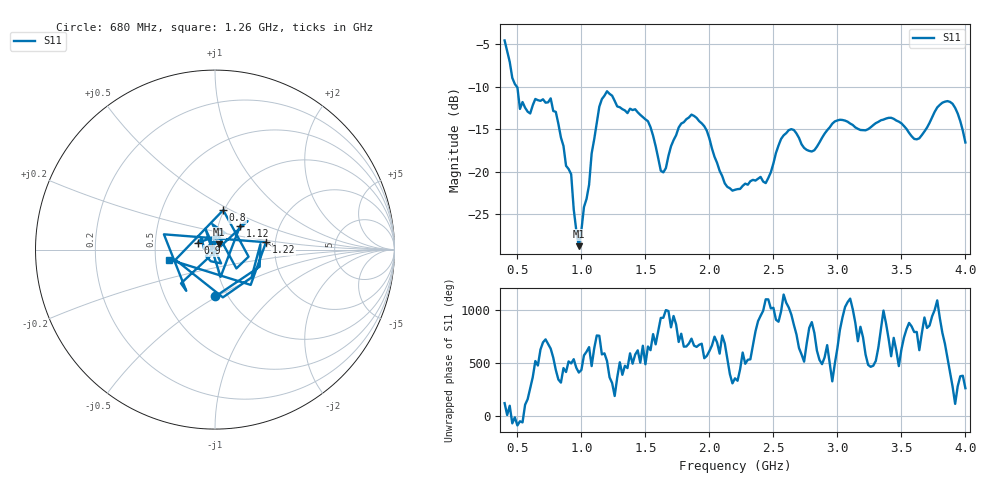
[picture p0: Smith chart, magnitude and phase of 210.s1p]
!Created with skrf (http://scikit-rf.org).
# Hz S RI R 50.0
!freq ReS11 ImS11
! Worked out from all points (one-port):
!   181 points, 400 MHz to 4 GHz, reference 50 ohm
!   lowest |S11| = -28.8 dB at 980 MHz (marker M1), VSWR 1.08, Z = 52.1 + j3.08 ohm
!   |S11| at or under -10 dB: 495.4 MHz to end of sweep
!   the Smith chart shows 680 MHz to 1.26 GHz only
!   S11 on the Smith chart (normalised r, x): 680 MHz: 0.88, -0.49; 800 MHz: 0.99, +0.46; 900 MHz: 0.82, +0.06; 1.12 GHz: 1.27, +0.35; 1.22 GHz: 1.78, +0.16; 1.26 GHz: 0.59, -0.07
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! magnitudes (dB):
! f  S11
! 400 MHz  -4.6
! 520 MHz  -12.6
! 680 MHz  -11.7
! 800 MHz  -13.0
! 860 MHz  -17.0
! 900 MHz  -19.7
! 920 MHz  -20.3
! 980 MHz  -28.8
! 1.12 GHz  -14.2
! 1.22 GHz  -10.8
! 1.26 GHz  -11.7
! 1.3 GHz  -12.4
! 1.52 GHz  -14.1
! 1.64 GHz  -20.1
! 1.76 GHz  -14.8
! 1.94 GHz  -14.3
! 2.12 GHz  -21.4
! 2.2 GHz  -22.1
! 2.44 GHz  -21.3
! 2.56 GHz  -16.1
! 2.66 GHz  -15.1
! 2.8 GHz  -17.6
! 2.98 GHz  -14.1
! 3.1 GHz  -14.3
! 3.56 GHz  -15.4
! 3.64 GHz  -16.1
! 3.86 GHz  -11.7
! 4 GHz  -16.6
